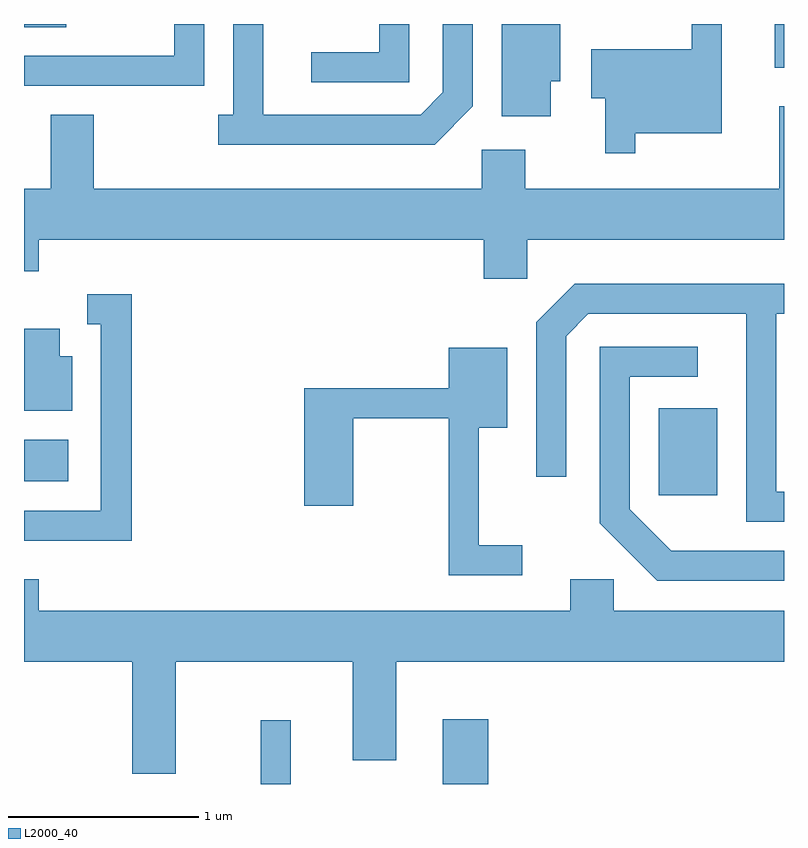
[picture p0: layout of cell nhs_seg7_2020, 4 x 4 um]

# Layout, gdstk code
import gdstk
lib = gdstk.Library(unit=1e-6, precision=1e-09)
def R(c, l, rs):  # rectangles x0, y0, x1, y1
    for r in rs: c.add(gdstk.rectangle(r[:2], r[2:], *l))
def P(c, l, *ps):  # polygons
    for p in ps: c.add(gdstk.Polygon(p, *l))
L2000_40 = (2000, 40)

nhs_seg7_2020 = lib.new_cell('nhs_seg7_2020')
R(nhs_seg7_2020, L2000_40, [(246.856,1800.252,247.014,1800.588), (247.816,1800.252,248.054,1800.594), (248.951,1801.771,249.259,1802.229), (245.611,1801.846,245.844,1802.064), (249.561,1804.021,249.611,1804.252), (245.611,1804.236,245.834,1804.252)])
P(nhs_seg7_2020, L2000_40, [(247.639,1804.252),(247.481,1804.252),(247.481,1804.104),(247.123,1804.104),(247.123,1803.946),(247.639,1803.946)],
  [(248.384,1803.951),(248.434,1803.951),(248.434,1804.252),(248.126,1804.252),(248.126,1803.766),(248.384,1803.766)],
  [(248.829,1803.676),(249.284,1803.676),(249.284,1804.252),(249.126,1804.252),(249.126,1804.119),(248.596,1804.119),(248.596,1803.861),(248.671,1803.861),(248.671,1803.573),(248.829,1803.573)],
  [(247.974,1803.819),(247.974,1804.252),(247.816,1804.252),(247.816,1803.892),(247.699,1803.774),(246.869,1803.774),(246.869,1804.252),(246.711,1804.252),(246.711,1803.774),(246.633,1803.774),(246.633,1803.616),(247.772,1803.616)],
  [(246.559,1804.252),(246.401,1804.252),(246.401,1804.084),(245.611,1804.084),(245.611,1803.926),(246.559,1803.926)],
  [(248.259,1803.116),(249.611,1803.116),(249.611,1803.818),(249.586,1803.818),(249.586,1803.384),(248.249,1803.384),(248.249,1803.589),(248.021,1803.589),(248.021,1803.384),(245.979,1803.384),(245.979,1803.774),(245.751,1803.774),(245.751,1803.384),(245.611,1803.384),(245.611,1802.951),(245.689,1802.951),(245.689,1803.116),(248.031,1803.116),(248.031,1802.911),(248.259,1802.911)],
  [(249.611,1801.789),(249.569,1801.789),(249.569,1802.726),(249.611,1802.726),(249.611,1802.884),(248.509,1802.884),(248.306,1802.682),(248.306,1801.868),(248.464,1801.868),(248.464,1802.609),(248.582,1802.726),(249.411,1802.726),(249.411,1801.631),(249.611,1801.631)],
  [(246.179,1802.829),(245.943,1802.829),(245.943,1802.671),(246.016,1802.671),(246.016,1801.689),(245.611,1801.689),(245.611,1801.531),(246.179,1801.531)],
  [(245.864,1802.504),(245.799,1802.504),(245.799,1802.649),(245.611,1802.649),(245.611,1802.216),(245.864,1802.216)],
  [(249.611,1801.479),(249.017,1801.479),(248.799,1801.697),(248.799,1802.396),(249.158,1802.396),(249.158,1802.554),(248.641,1802.554),(248.641,1801.624),(248.944,1801.321),(249.611,1801.321)],
  [(248.233,1801.509),(248.004,1801.509),(248.004,1802.126),(248.154,1802.126),(248.154,1802.549),(247.846,1802.549),(247.846,1802.334),(247.086,1802.334),(247.086,1801.716),(247.344,1801.716),(247.344,1802.176),(247.846,1802.176),(247.846,1801.351),(248.233,1801.351)],
  [(246.409,1800.896),(247.341,1800.896),(247.341,1800.376),(247.569,1800.376),(247.569,1800.896),(249.611,1800.896),(249.611,1801.164),(248.714,1801.164),(248.714,1801.329),(248.486,1801.329),(248.486,1801.164),(245.689,1801.164),(245.689,1801.329),(245.611,1801.329),(245.611,1800.896),(246.181,1800.896),(246.181,1800.306),(246.409,1800.306)])

lib.write_gds('nhs_seg7_2020.gds')
